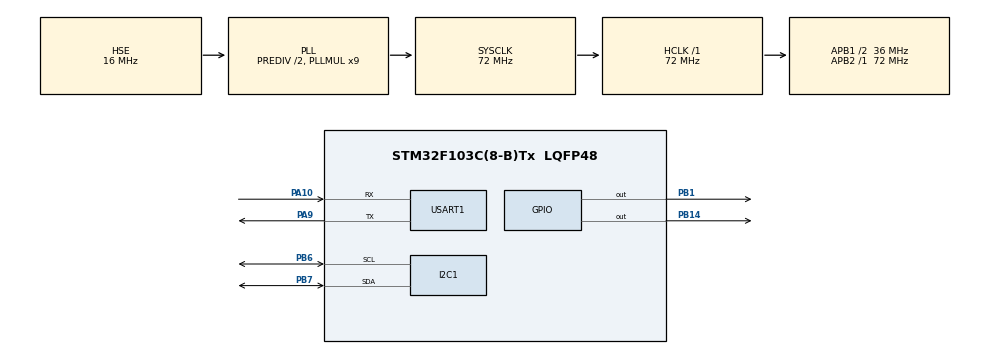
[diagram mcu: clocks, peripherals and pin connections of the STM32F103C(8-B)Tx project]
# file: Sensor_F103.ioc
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Dma.I2C1_RX.1.Direction=DMA_PERIPH_TO_MEMORY
Dma.I2C1_RX.1.Instance=DMA1_Channel7
Dma.I2C1_RX.1.MemDataAlignment=DMA_MDATAALIGN_BYTE
Dma.I2C1_RX.1.MemInc=DMA_MINC_ENABLE
Dma.I2C1_RX.1.Mode=DMA_NORMAL
Dma.I2C1_RX.1.PeriphDataAlignment=DMA_PDATAALIGN_BYTE
Dma.I2C1_RX.1.PeriphInc=DMA_PINC_DISABLE
Dma.I2C1_RX.1.Priority=DMA_PRIORITY_HIGH
Dma.I2C1_TX.2.Direction=DMA_MEMORY_TO_PERIPH
Dma.I2C1_TX.2.Instance=DMA1_Channel6
Dma.I2C1_TX.2.MemDataAlignment=DMA_MDATAALIGN_BYTE
Dma.I2C1_TX.2.MemInc=DMA_MINC_ENABLE
Dma.I2C1_TX.2.Mode=DMA_NORMAL
Dma.I2C1_TX.2.PeriphDataAlignment=DMA_PDATAALIGN_BYTE
Dma.I2C1_TX.2.PeriphInc=DMA_PINC_DISABLE
Dma.I2C1_TX.2.Priority=DMA_PRIORITY_HIGH
Dma.Request0=TIM2_UP
Dma.Request1=I2C1_RX
Dma.Request2=I2C1_TX
Dma.Request3=USART1_TX
Dma.Request4=USART1_RX
Dma.TIM2_UP.0.Direction=DMA_PERIPH_TO_MEMORY
Dma.TIM2_UP.0.Instance=DMA1_Channel2
Dma.TIM2_UP.0.MemDataAlignment=DMA_MDATAALIGN_HALFWORD
Dma.TIM2_UP.0.MemInc=DMA_MINC_ENABLE
Dma.TIM2_UP.0.Mode=DMA_NORMAL
Dma.TIM2_UP.0.PeriphDataAlignment=DMA_PDATAALIGN_HALFWORD
Dma.TIM2_UP.0.PeriphInc=DMA_PINC_DISABLE
Dma.TIM2_UP.0.Priority=DMA_PRIORITY_LOW
Dma.USART1_RX.4.Direction=DMA_PERIPH_TO_MEMORY
Dma.USART1_RX.4.Instance=DMA1_Channel5
Dma.USART1_RX.4.MemDataAlignment=DMA_MDATAALIGN_BYTE
Dma.USART1_RX.4.MemInc=DMA_MINC_ENABLE
Dma.USART1_RX.4.Mode=DMA_NORMAL
Dma.USART1_RX.4.PeriphDataAlignment=DMA_PDATAALIGN_BYTE
Dma.USART1_RX.4.PeriphInc=DMA_PINC_DISABLE
Dma.USART1_RX.4.Priority=DMA_PRIORITY_MEDIUM
Dma.USART1_TX.3.Direction=DMA_MEMORY_TO_PERIPH
Dma.USART1_TX.3.Instance=DMA1_Channel4
Dma.USART1_TX.3.MemDataAlignment=DMA_MDATAALIGN_BYTE
Dma.USART1_TX.3.MemInc=DMA_MINC_ENABLE
Dma.USART1_TX.3.Mode=DMA_NORMAL
Dma.USART1_TX.3.PeriphDataAlignment=DMA_PDATAALIGN_BYTE
Dma.USART1_TX.3.PeriphInc=DMA_PINC_DISABLE
Dma.USART1_TX.3.Priority=DMA_PRIORITY_MEDIUM
I2C1.I2C_Mode=I2C_Fast
Mcu.Family=STM32F1
Mcu.Name=STM32F103C(8-B)Tx
Mcu.Package=LQFP48
NVIC.DMA1_Channel2_IRQn=true\:0\:0\:false\:false\:true\:false\:true\:true
NVIC.DMA1_Channel4_IRQn=true\:0\:0\:false\:false\:true\:false\:true\:true
NVIC.DMA1_Channel5_IRQn=true\:0\:0\:false\:false\:true\:false\:true\:true
NVIC.DMA1_Channel6_IRQn=true\:0\:0\:false\:false\:true\:false\:true\:true
NVIC.DMA1_Channel7_IRQn=true\:0\:0\:false\:false\:true\:false\:true\:true
NVIC.I2C1_ER_IRQn=true\:0\:0\:false\:false\:true\:true\:true\:true
NVIC.I2C1_EV_IRQn=true\:0\:0\:true\:false\:true\:true\:true\:true
NVIC.PriorityGroup=NVIC_PRIORITYGROUP_4
NVIC.TIM2_IRQn=true\:0\:0\:true\:false\:true\:true\:true\:true
NVIC.USART1_IRQn=true\:1\:0\:true\:false\:true\:true\:true\:true
PA10.Mode=Asynchronous
PA10.Signal=USART1_RX
PA9.Mode=Asynchronous
PA9.Signal=USART1_TX
PB1.PinState=GPIO_PIN_SET
PB1.Signal=GPIO_Output
PB14.PinState=GPIO_PIN_SET
PB14.Signal=GPIO_Output
PB6.Mode=I2C
PB6.Signal=I2C1_SCL
PB7.Mode=I2C
PB7.Signal=I2C1_SDA
PD0-OSC_IN.Mode=HSE-External-Oscillator
PD0-OSC_IN.Signal=RCC_OSC_IN
PD1-OSC_OUT.Mode=HSE-External-Oscillator
PD1-OSC_OUT.Signal=RCC_OSC_OUT
ProjectManager.HeapSize=0x200
ProjectManager.StackSize=0x400
ProjectManager.TargetToolchain=STM32CubeIDE
RCC.AHBFreq_Value=72000000
RCC.APB1CLKDivider=RCC_HCLK_DIV2
RCC.APB1Freq_Value=36000000
RCC.APB1TimFreq_Value=72000000
RCC.APB2Freq_Value=72000000
RCC.APB2TimFreq_Value=72000000
RCC.HCLKFreq_Value=72000000
RCC.HSEDivPLL=RCC_HSE_PREDIV_DIV2
RCC.HSE_VALUE=16000000
RCC.PLLMUL=RCC_PLL_MUL9
RCC.PLLSourceVirtual=RCC_PLLSOURCE_HSE
RCC.SYSCLKFreq_VALUE=72000000
RCC.SYSCLKSource=RCC_SYSCLKSOURCE_PLLCLK
RCC.USBFreq_Value=48000000
RCC.USBPrescaler=RCC_USBCLKSOURCE_PLL_DIV1_5
TIM2.Period=99
TIM2.Prescaler=7199
USART1.VirtualMode=VM_ASYNC
VP_RTC_VS_RTC_Activate.Mode=RTC_Enabled
VP_RTC_VS_RTC_Calendar.Mode=RTC_Calendar
VP_SYS_VS_ND.Mode=No_Debug
VP_TIM2_VS_ClockSourceINT.Mode=Internal
board=custom

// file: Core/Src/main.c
/* USER CODE BEGIN Header */
/**
  ******************************************************************************
  * @file           : main.c
  * @brief          : Main program body
  ******************************************************************************
  * @attention
  *
  * Copyright (c) 2025 STMicroelectronics.
  * All rights reserved.
  *
  * This software is licensed under terms that can be found in the LICENSE file
  * in the root directory of this software component.
  * If no LICENSE file comes with this software, it is provided AS-IS.
  *
  ******************************************************************************
  */
/* USER CODE END Header */
#include "main.h"
#include "dma.h"
#include "i2c.h"
#include "rtc.h"
#include "tim.h"
#include "usart.h"
#include "gpio.h"

/* USER CODE BEGIN Includes */
#include "lis3dhtr.h"
#include "sht40.h"
#include "sensors_data.h"
#include "flash_utils.h"
#include "command_handler.h"
#include "serial_parser.h"
#include "usart_io.h"
#include "callbacks.h"
#include <stdio.h>
#include <string.h>
#include <time_utils.h>
/* USER CODE END Includes */

void SystemClock_Config(void);
/* USER CODE BEGIN PFP */
void TestInit();													//initialization function + log
/* USER CODE END PFP */

int main(void)
{

  /* MCU Configuration--------------------------------------------------------*/

  /* Reset of all peripherals, Initializes the Flash interface and the Systick. */
  HAL_Init();

  /* Configure the system clock */
  SystemClock_Config();

  /* Initialize all configured peripherals */
  MX_GPIO_Init();
  MX_DMA_Init();
  MX_I2C1_Init();
  MX_TIM2_Init();
  MX_USART1_UART_Init();
  MX_RTC_Init();
  /* USER CODE BEGIN 2 */
  TestInit();
  /* USER CODE END 2 */

  /* Infinite loop */
  while (1)
  {

  }
}

void SystemClock_Config(void)
{
  RCC_OscInitTypeDef RCC_OscInitStruct = {0};
  RCC_ClkInitTypeDef RCC_ClkInitStruct = {0};
  RCC_PeriphCLKInitTypeDef PeriphClkInit = {0};

  /** Initializes the RCC Oscillators according to the specified parameters
  * in the RCC_OscInitTypeDef structure.
  */
  RCC_OscInitStruct.OscillatorType = RCC_OSCILLATORTYPE_LSI|RCC_OSCILLATORTYPE_HSE;
  RCC_OscInitStruct.HSEState = RCC_HSE_ON;
  RCC_OscInitStruct.HSEPredivValue = RCC_HSE_PREDIV_DIV2;
  RCC_OscInitStruct.HSIState = RCC_HSI_ON;
  RCC_OscInitStruct.LSIState = RCC_LSI_ON;
  RCC_OscInitStruct.PLL.PLLState = RCC_PLL_ON;
  RCC_OscInitStruct.PLL.PLLSource = RCC_PLLSOURCE_HSE;
  RCC_OscInitStruct.PLL.PLLMUL = RCC_PLL_MUL9;
  if (HAL_RCC_OscConfig(&RCC_OscInitStruct) != HAL_OK)
  {
    Error_Handler();
  }

  /** Initializes the CPU, AHB and APB buses clocks
  */
  RCC_ClkInitStruct.ClockType = RCC_CLOCKTYPE_HCLK|RCC_CLOCKTYPE_SYSCLK
                              |RCC_CLOCKTYPE_PCLK1|RCC_CLOCKTYPE_PCLK2;
  RCC_ClkInitStruct.SYSCLKSource = RCC_SYSCLKSOURCE_PLLCLK;
  RCC_ClkInitStruct.AHBCLKDivider = RCC_SYSCLK_DIV1;
  RCC_ClkInitStruct.APB1CLKDivider = RCC_HCLK_DIV2;
  RCC_ClkInitStruct.APB2CLKDivider = RCC_HCLK_DIV1;

  if (HAL_RCC_ClockConfig(&RCC_ClkInitStruct, FLASH_LATENCY_2) != HAL_OK)
  {
    Error_Handler();
  }
  PeriphClkInit.PeriphClockSelection = RCC_PERIPHCLK_RTC;
  PeriphClkInit.RTCClockSelection = RCC_RTCCLKSOURCE_LSI;
  if (HAL_RCCEx_PeriphCLKConfig(&PeriphClkInit) != HAL_OK)
  {
    Error_Handler();
  }
}

/* USER CODE BEGIN 4 */

void TestInit()
{
	//Start of initialization process
/*	HAL_Delay(2000);
	const char msg[] = "Initializing...\r\n";
	HAL_UART_Transmit(&huart1, (uint8_t*)msg, sizeof(msg) - 1, HAL_MAX_DELAY);
*/
	//Loading A_ms from flash memory
	loadA_msFromFlash();
	HAL_Delay(1000);
/*	const char load[] = "A_ms loaded successfully: ";
	HAL_Delay(500);
	HAL_UART_Transmit(&huart1, (uint8_t*)load, sizeof(load) - 1, HAL_MAX_DELAY);
	char ams[64];
	snprintf(ams, sizeof(ams), "x = %d y = %d z = %d\r\n", A_ms.x, A_ms.y, A_ms.z);
	HAL_UART_Transmit(&huart1, (uint8_t*)ams, strlen(ams), HAL_MAX_DELAY);

	char det[100];
	snprintf(det, sizeof(det), "%02d/%02d/%04d %02d:%02d:%02d\r\n",
				recordedDate.Date, recordedDate.Month, 2000 + recordedDate.Year,
			   recordedTime.Hours, recordedTime.Minutes, recordedTime.Seconds);
	HAL_UART_Transmit(&huart1, (uint8_t*)det, strlen(det), HAL_MAX_DELAY);
*/
	//Establishes connection (check) and sets 100Hz frequency and full scale +-16g
	if(LIS3DHTR_Init(&hi2c1) != HAL_OK)
		Error_Handler();
	HAL_Delay(1000);
/*	const char acc[] = "LIS3DHTR connected\r\n";
	HAL_UART_Transmit(&huart1, (uint8_t*)acc, sizeof(acc) - 1, HAL_MAX_DELAY);
*/
	//Soft-reset of the SHT40 sensor
	if(SHT40_Init(&hi2c1) != HAL_OK)
		Error_Handler();
	HAL_Delay(1000);
/*	const char th[] = "SHT40 connected\r\n";
	HAL_UART_Transmit(&huart1, (uint8_t*)th, sizeof(th) - 1, HAL_MAX_DELAY);
*/
	//Starts 100Hz timer w/ non-blocking interrupt
	HAL_TIM_Base_Start_IT(&htim2);
	HAL_Delay(1000);
/*	const char tim[] = "Timer initialized\r\n";
	HAL_UART_Transmit(&huart1, (uint8_t*)tim, sizeof(tim) - 1, HAL_MAX_DELAY);

*/	//Starts DMA-based serial communication
	extern uint8_t rx_byte;
	Parser_Init();
	HAL_Delay(1000);
//	const char parser[] = "Parser initialized\r\n";
//	HAL_UART_Transmit(&huart1, (uint8_t*)parser, sizeof(parser) - 1, HAL_MAX_DELAY);
	HAL_Delay(300);
//	const char wait[] = "Waiting for command...\r\n";
//	HAL_UART_Transmit(&huart1, (uint8_t*)wait, sizeof(wait) - 1, HAL_MAX_DELAY);

	HAL_UART_Receive_DMA(&huart1, &rx_byte, 1);
}
/* USER CODE END 4 */

void Error_Handler(void)
{
  /* USER CODE BEGIN Error_Handler_Debug */
  /* User can add his own implementation to report the HAL error return state */
	HAL_GPIO_TogglePin(GPIOA, GPIO_PIN_1);
  __disable_irq();
  while (1)
  {
  }
  /* USER CODE END Error_Handler_Debug */
}
